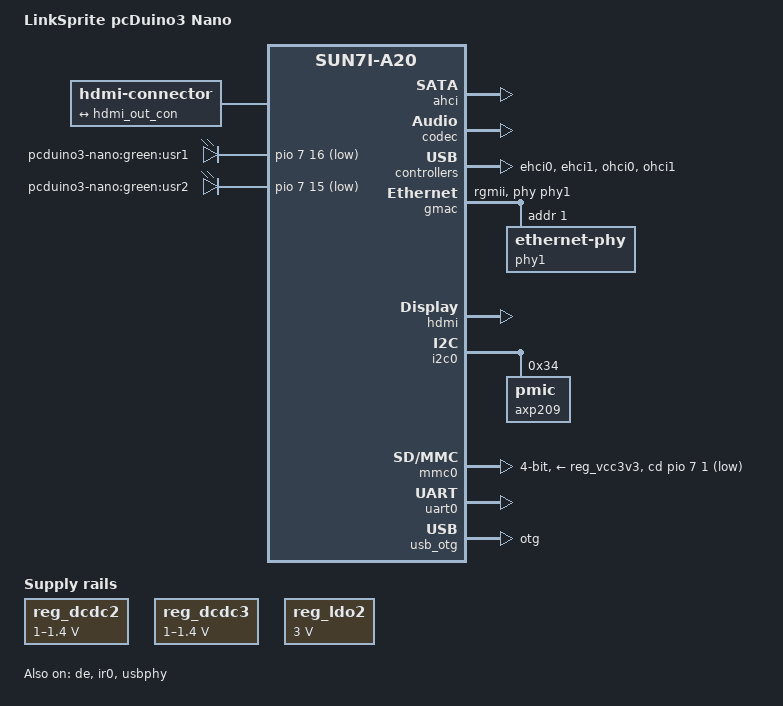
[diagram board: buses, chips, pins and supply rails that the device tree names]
/*
 * Copyright 2015 Adam Sampson <ats@offog.org>
 *
 * This file is dual-licensed: you can use it either under the terms
 * of the GPL or the X11 license, at your option. Note that this dual
 * licensing only applies to this file, and not this project as a
 * whole.
 *
 *  a) This file is free software; you can redistribute it and/or
 *     modify it under the terms of the GNU General Public License as
 *     published by the Free Software Foundation; either version 2 of the
 *     License, or (at your option) any later version.
 *
 *     This file is distributed in the hope that it will be useful,
 *     but WITHOUT ANY WARRANTY; without even the implied warranty of
 *     MERCHANTABILITY or FITNESS FOR A PARTICULAR PURPOSE.  See the
 *     GNU General Public License for more details.
 *
 * Or, alternatively,
 *
 *  b) Permission is hereby granted, free of charge, to any person
 *     obtaining a copy of this software and associated documentation
 *     files (the "Software"), to deal in the Software without
 *     restriction, including without limitation the rights to use,
 *     copy, modify, merge, publish, distribute, sublicense, and/or
 *     sell copies of the Software, and to permit persons to whom the
 *     Software is furnished to do so, subject to the following
 *     conditions:
 *
 *     The above copyright notice and this permission notice shall be
 *     included in all copies or substantial portions of the Software.
 *
 *     THE SOFTWARE IS PROVIDED "AS IS", WITHOUT WARRANTY OF ANY KIND,
 *     EXPRESS OR IMPLIED, INCLUDING BUT NOT LIMITED TO THE WARRANTIES
 *     OF MERCHANTABILITY, FITNESS FOR A PARTICULAR PURPOSE AND
 *     NONINFRINGEMENT. IN NO EVENT SHALL THE AUTHORS OR COPYRIGHT
 *     HOLDERS BE LIABLE FOR ANY CLAIM, DAMAGES OR OTHER LIABILITY,
 *     WHETHER IN AN ACTION OF CONTRACT, TORT OR OTHERWISE, ARISING
 *     FROM, OUT OF OR IN CONNECTION WITH THE SOFTWARE OR THE USE OR
 *     OTHER DEALINGS IN THE SOFTWARE.
 */

/dts-v1/;
#include "sun7i-a20.dtsi"
#include "sunxi-common-regulators.dtsi"
#include <dt-bindings/gpio/gpio.h>
#include <dt-bindings/interrupt-controller/arm-gic.h>

/ {
	model = "LinkSprite pcDuino3 Nano";
	compatible = "linksprite,pcduino3-nano", "allwinner,sun7i-a20";

	aliases {
		serial0 = &uart0;
	};

	chosen {
		stdout-path = "serial0:115200n8";
	};

	hdmi-connector {
		compatible = "hdmi-connector";
		type = "a";

		port {
			hdmi_con_in: endpoint {
				remote-endpoint = <&hdmi_out_con>;
			};
		};
	};

	leds {
		compatible = "gpio-leds";

		/* Marked "LED3" on the PCB. */
		usr1 {
			label = "pcduino3-nano:green:usr1";
			gpios = <&pio 7 16 GPIO_ACTIVE_LOW>; /* PH16 */
		};

		/* Marked "LED4" on the PCB. */
		usr2 {
			label = "pcduino3-nano:green:usr2";
			gpios = <&pio 7 15 GPIO_ACTIVE_LOW>; /* PH15 */
		};
	};
};

&ahci {
	target-supply = <&reg_ahci_5v>;
	status = "okay";
};

&codec {
	status = "okay";
};

&cpu0 {
	cpu-supply = <&reg_dcdc2>;
};

&de {
	status = "okay";
};

&ehci0 {
	status = "okay";
};

&ehci1 {
	status = "okay";
};

&gmac {
	pinctrl-names = "default";
	pinctrl-0 = <&gmac_rgmii_pins>;
	phy = <&phy1>;
	phy-mode = "rgmii";
	status = "okay";

	phy1: ethernet-phy@1 {
		reg = <1>;
	};
};

&hdmi {
	status = "okay";
};

&hdmi_out {
	hdmi_out_con: endpoint {
		remote-endpoint = <&hdmi_con_in>;
	};
};

&i2c0 {
	status = "okay";

	axp209: pmic@34 {
		reg = <0x34>;
		interrupt-parent = <&nmi_intc>;
		interrupts = <0 IRQ_TYPE_LEVEL_LOW>;
	};
};

&ir0 {
	pinctrl-names = "default";
	pinctrl-0 = <&ir0_rx_pin>;
	status = "okay";
};

&mmc0 {
	vmmc-supply = <&reg_vcc3v3>;
	bus-width = <4>;
	cd-gpios = <&pio 7 1 GPIO_ACTIVE_LOW>; /* PH1 */
	status = "okay";
};

&ohci0 {
	status = "okay";
};

&ohci1 {
	status = "okay";
};

&otg_sram {
	status = "okay";
};

&reg_ahci_5v {
	gpio = <&pio 7 2 GPIO_ACTIVE_HIGH>; /* PH2 */
	status = "okay";
};

#include "axp209.dtsi"

&reg_dcdc2 {
	regulator-always-on;
	regulator-min-microvolt = <1000000>;
	regulator-max-microvolt = <1400000>;
	regulator-name = "vdd-cpu";
};

&reg_dcdc3 {
	regulator-always-on;
	regulator-min-microvolt = <1000000>;
	regulator-max-microvolt = <1400000>;
	regulator-name = "vdd-int-pll";
};

&reg_ldo1 {
	regulator-name = "vdd-rtc";
};

&reg_ldo2 {
	regulator-always-on;
	regulator-min-microvolt = <3000000>;
	regulator-max-microvolt = <3000000>;
	regulator-name = "avcc";
};

/* A single regulator (U24) powers both USB host ports. */
&reg_usb1_vbus {
	gpio = <&pio 3 2 GPIO_ACTIVE_HIGH>; /* PD2 */
	status = "okay";
};

&uart0 {
	pinctrl-names = "default";
	pinctrl-0 = <&uart0_pb_pins>;
	status = "okay";
};

&usb_otg {
	dr_mode = "otg";
	status = "okay";
};

&usbphy {
	usb0_id_det-gpios = <&pio 7 4 (GPIO_ACTIVE_HIGH | GPIO_PULL_UP)>; /* PH4 */
	usb1_vbus-supply = <&reg_usb1_vbus>;
	usb2_vbus-supply = <&reg_usb1_vbus>;
	status = "okay";
};
